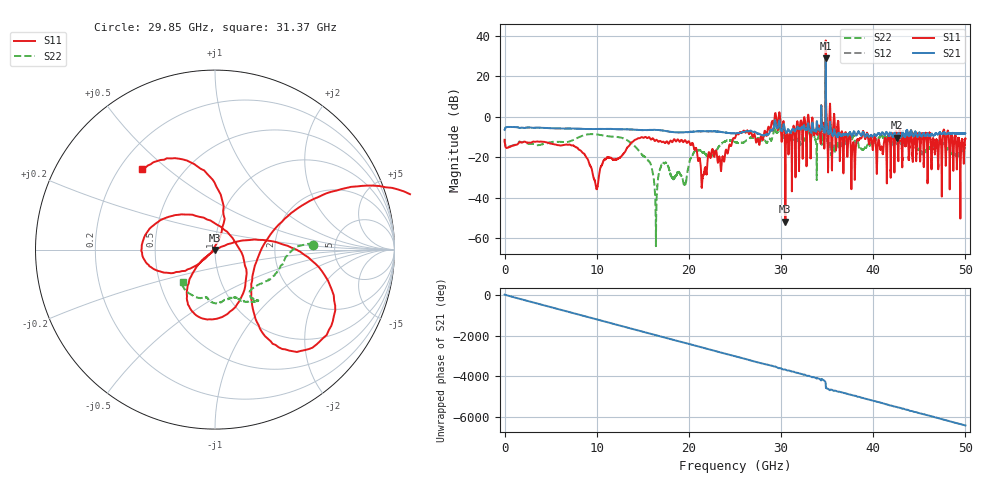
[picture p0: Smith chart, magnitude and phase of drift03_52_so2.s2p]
!Created with skrf (http://scikit-rf.org).
# Hz S RI R 50.0
!freq ReS11 ImS11 ReS21 ImS21 ReS12 ImS12 ReS22 ImS22
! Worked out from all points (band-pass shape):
!   10001 points, 300 kHz to 50 GHz, reference 50 ohm
!   highest |S21| = 28.83 dB at 34.85 GHz (marker M1); lowest = -10.4 dB at 42.55 GHz (marker M2)
!   |S21| within 3 dB of the highest: 34.84375 GHz to 34.84593 GHz (2.182 MHz wide, 0.00626 % of centre)
!   lowest |S11| = -51.9 dB at 30.47 GHz (marker M3), VSWR 1.01, Z = 50 - j0.254 ohm
!   |S11| at or under -10 dB: start of sweep to 15.23 GHz; 15.31 GHz to 25.05 GHz (9.738 GHz wide, 48.3 % of centre); 40.22 GHz to 41.62 GHz (1.398 GHz wide, 3.42 % of centre) (the widest 3 of 51)
!   |S22| runs from -64.0 to 19.7 dB; largest |S21 - S12| = 3.9
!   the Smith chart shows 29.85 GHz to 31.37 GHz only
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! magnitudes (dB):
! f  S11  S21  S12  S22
! 300 kHz  -11.4  -6.5  -6.4  -11.4
! 8.335 GHz  -17.1  -6.0  -6.0  -9.6
! 9.955 GHz  -35.7  -6.1  -6.1  -8.7
! 11 GHz  -20.9  -6.0  -6.1  -9.5
! 13.98 GHz  -12.1  -6.3  -6.3  -13.9
! 16.36 GHz  -11.9  -6.5  -6.5  -42.0
! 16.67 GHz  -12.4  -6.5  -6.5  -29.9
! 17.34 GHz  -12.8  -6.9  -6.9  -23.0
! 19.55 GHz  -11.7  -7.7  -7.7  -33.2
! 20.22 GHz  -13.9  -7.5  -7.5  -20.4
! 21.55 GHz  -28.7  -7.2  -7.2  -17.7
! 25 GHz  -10.6  -8.2  -8.2  -12.6
! 29.6 GHz  -5.5  -5.7  -5.9  -7.8
! 30.47 GHz  -51.9  -7.2  -7.2  -9.0
! 33.34 GHz  -3.8  -6.8  -6.7  -9.3
! 34.85 GHz  37.7  28.8  28.6  19.7
! 35.63 GHz  -5.8  -9.3  -9.3  -15.7
! 37.83 GHz  -12.6  -8.3  -8.4  -9.9
! 38.81 GHz  -8.9  -8.2  -8.2  -16.2
! 41.67 GHz  -9.1  -9.5  -9.4  -11.6
! 42.55 GHz  -8.4  -10.4  -10.4  -13.2
! 50 GHz  -10.7  -8.2  -8.2  -15.5
